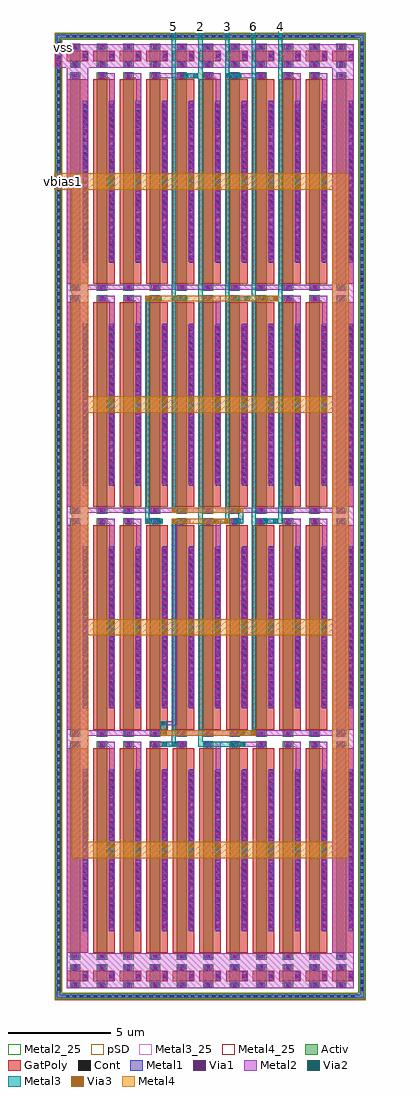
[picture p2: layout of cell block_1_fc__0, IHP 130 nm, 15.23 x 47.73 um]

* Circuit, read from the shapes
.subckt block_1_fc__0 2 3 4 5 6 vbias1 vss
XM1 vss vss vss vss sg13_lv_nmos w=0.5u l=0.5u m=22
XM2 vss vss vss vss sg13_lv_nmos w=0.5u l=10u m=8
XM3 vbias1 vbias1 vss vss sg13_lv_nmos w=0.5u l=10u m=20
XM4 3 vbias1 vss vss sg13_lv_nmos w=0.5u l=10u m=4
XM5 4 vbias1 vss vss sg13_lv_nmos w=0.5u l=10u m=4
XM6 2 vbias1 vss vss sg13_lv_nmos w=0.5u l=10u m=4
XM7 6 vbias1 vss vss sg13_lv_nmos w=0.5u l=10u m=2
XM8 5 vbias1 vss vss sg13_lv_nmos w=0.5u l=10u m=2
.ends

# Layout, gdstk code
from math import pi, radians
import gdstk
lib = gdstk.Library(unit=1e-6, precision=1e-09)
def R(c, l, rs):  # rectangles x0, y0, x1, y1
    for r in rs: c.add(gdstk.rectangle(r[:2], r[2:], *l))
def A(c, l, x, y, w, h, nx, ny, dx, dy):  # array of equal rectangles
    R(c, l, [(x+i*dx, y+j*dy, x+i*dx+w, y+j*dy+h) for i in range(nx) for j in range(ny)])
Activ = (1, 0)
GatPoly = (5, 0)
Cont = (6, 0)
Metal1 = (8, 0)
Metal2 = (10, 0)
Metal2_25 = (10, 25)
pSD = (14, 0)
Via1 = (19, 0)
Via2 = (29, 0)
Metal3 = (30, 0)
Metal3_25 = (30, 25)
Via3 = (49, 0)
Metal4 = (50, 0)
Metal4_25 = (50, 25)

sg13_lv_nmos_6qzvq2__0 = lib.new_cell('sg13_lv_nmos_6QZVQ2__0')
R(sg13_lv_nmos_6qzvq2__0, Activ, [(-0.59,-0.345,0.59,0.155)])
R(sg13_lv_nmos_6qzvq2__0, GatPoly, [(-0.25,-0.525,0.25,0.525)])
R(sg13_lv_nmos_6qzvq2__0, Cont, [(-0.52,-0.175,-0.36,-0.015), (0.36,-0.175,0.52,-0.015), (-0.08,0.295,0.08,0.455)])
R(sg13_lv_nmos_6qzvq2__0, Metal1, [(-0.59,-0.24,-0.29,0.05), (0.29,-0.24,0.59,0.05), (-0.215,0.27,0.215,0.48)])
R(sg13_lv_nmos_6qzvq2__0, Metal2, [(-0.54,-0.28,-0.34,0.09), (0.34,-0.28,0.54,0.09), (-0.11,0.23,0.11,0.52)])
R(sg13_lv_nmos_6qzvq2__0, Via1, [(-0.535,-0.19,-0.345,0), (0.345,-0.19,0.535,0), (-0.095,0.28,0.095,0.47)])
sg13_lv_nmos_6qzvq2__0.add(gdstk.Label('D', (-0.44,-0.095), layer=8, texttype=25))
sg13_lv_nmos_6qzvq2__0.add(gdstk.Label('S', (0.44,-0.095), layer=8, texttype=25))
sg13_lv_nmos_6qzvq2__0.add(gdstk.Label('G', (0,0.375), layer=8, texttype=25))

sg13_lv_nmos_ty7sk8__0 = lib.new_cell('sg13_lv_nmos_TY7SK8__0')
R(sg13_lv_nmos_ty7sk8__0, Activ, [(-5.34,-0.345,5.34,0.155)])
R(sg13_lv_nmos_ty7sk8__0, GatPoly, [(-5,-0.525,5,0.525)])
A(sg13_lv_nmos_ty7sk8__0, Cont, -3.82, 0.295, 0.16, 0.16, 23, 1, 0.34, 0)
R(sg13_lv_nmos_ty7sk8__0, Cont, [(-5.27,-0.175,-5.11,-0.015), (5.11,-0.175,5.27,-0.015)])
R(sg13_lv_nmos_ty7sk8__0, Metal1, [(-5.34,-0.24,-5.04,0.05), (5.04,-0.24,5.34,0.05), (-3.96,0.27,3.96,0.48)])
R(sg13_lv_nmos_ty7sk8__0, Metal2, [(-5.29,-0.28,-5.09,0.09), (5.09,-0.28,5.29,0.09), (-3.91,0.23,3.91,0.52)])
A(sg13_lv_nmos_ty7sk8__0, Via1, -3.785, 0.28, 0.19, 0.19, 19, 1, 0.41, 0)
R(sg13_lv_nmos_ty7sk8__0, Via1, [(-5.285,-0.19,-5.095,0), (5.095,-0.19,5.285,0)])
sg13_lv_nmos_ty7sk8__0.add(gdstk.Label('D', (-5.19,-0.095), layer=8, texttype=25))
sg13_lv_nmos_ty7sk8__0.add(gdstk.Label('S', (5.19,-0.095), layer=8, texttype=25))
sg13_lv_nmos_ty7sk8__0.add(gdstk.Label('G', (0,0.375), layer=8, texttype=25))

block_1_fc__0 = lib.new_cell('block_1_fc__0')
R(block_1_fc__0, Activ, [(3.45,-0.2,18.6,0.1), (3.45,0.1,3.75,46.75), (18.3,0.1,18.6,46.75), (3.45,46.75,18.6,47.05)])
A(block_1_fc__0, Cont, 3.975, -0.13, 0.16, 0.16, 42, 2, 0.34, 46.95)
A(block_1_fc__0, Cont, 3.52, 0.225, 0.16, 0.16, 1, 137, 0, 0.34)
A(block_1_fc__0, Cont, 18.37, 0.225, 0.16, 0.16, 1, 137, 0, 0.34)
A(block_1_fc__0, Metal1, 4.25, 0.4, 0.35, 0.25, 11, 2, 1.3, 0.85)
A(block_1_fc__0, Metal1, 4.25, 1.8, 0.35, 0.25, 11, 2, 1.3, 10.35)
A(block_1_fc__0, Metal1, 4.25, 12.7, 0.35, 0.25, 11, 2, 1.3, 10.35)
A(block_1_fc__0, Metal1, 4.25, 23.6, 0.35, 0.25, 11, 2, 1.3, 22.65)
A(block_1_fc__0, Metal1, 4.25, 33.95, 0.35, 0.25, 10, 2, 1.3, 0.55)
A(block_1_fc__0, Metal1, 4.25, 44.85, 0.35, 0.25, 4, 1, 1.3, 0)
A(block_1_fc__0, Metal1, 10.75, 44.85, 0.35, 0.25, 6, 1, 1.3, 0)
A(block_1_fc__0, Metal1, 5.55, 45.4, 0.35, 0.25, 10, 1, 1.3, 0)
R(block_1_fc__0, Metal1, [(3.52,-0.13,18.53,0.03), (3.52,0.03,3.68,45.35), (18.37,0.03,18.53,46.82), (17.25,34,17.6,34.2), (17.25,34.5,17.6,34.7), (9.45,44.85,9.5,45.1), (3.45,45.35,3.75,46.5), (4.25,45.35,4.6,45.6), (3.52,46.5,3.68,46.82), (3.52,46.82,18.53,46.98)])
A(block_1_fc__0, Metal2, 4, 2.05, 1.05, 10.65, 1, 3, 0, 10.9)
A(block_1_fc__0, Metal2, 17, 2.05, 1.05, 10.65, 1, 3, 0, 10.9)
A(block_1_fc__0, Metal2, 6.05, 6.7, 0.25, 0.8, 9, 4, 1.3, 10.9)
A(block_1_fc__0, Metal2, 6.1, 10.95, 0.25, 1.2, 1, 4, 0, 10.9)
A(block_1_fc__0, Metal2, 7.4, 10.95, 0.25, 1.2, 3, 4, 3.9, 10.9)
A(block_1_fc__0, Metal2, 16.5, 10.95, 0.25, 1.2, 1, 4, 0, 10.9)
A(block_1_fc__0, Metal2, 5.55, 12.15, 0.8, 0.25, 1, 4, 0, 10.9)
A(block_1_fc__0, Metal2, 6.85, 12.15, 0.8, 0.25, 3, 2, 3.9, 21.8)
A(block_1_fc__0, Metal2, 15.95, 12.15, 0.8, 0.25, 1, 4, 0, 10.9)
A(block_1_fc__0, Metal2, 4, 12.7, 14.05, 0.25, 1, 3, 0, 10.9)
A(block_1_fc__0, Metal2, 6.85, 44.85, 0.8, 0.25, 3, 1, 3.9, 0)
R(block_1_fc__0, Metal2, [(4,0.35,18.05,2.05), (8.1,12.15,9.85,12.4), (12,12.15,13.75,12.4), (8.6,13.2,9.4,13.4), (9.2,13.4,9.4,23.05), (6.85,23.05,7.65,23.3), (7.9,23.05,8.7,23.3), (9.2,23.05,10.05,23.3), (10.75,23.05,11.55,23.3), (12.05,23.05,12.65,23.3), (13.3,23.05,14.35,23.3), (14.65,23.05,15.45,23.3), (7.9,33.95,8.65,34.2), (9.15,33.95,9.9,34.2), (12.05,33.95,12.95,34.2), (13.35,33.95,14.35,34.2), (4,34.75,5.05,45.35), (17,34.75,18.05,45.35), (8.15,44.85,10.45,45.1), (11.8,44.85,13.75,45.1), (3.45,45.35,18.05,46.5)])
R(block_1_fc__0, Metal2_25, [(3.75,46.2,3.95,46.5)])
R(block_1_fc__0, pSD, [(3.42,-0.23,18.63,0.13), (3.42,0.13,3.78,46.72), (18.27,0.13,18.63,46.72), (3.42,46.72,18.63,47.08)])
R(block_1_fc__0, Via1, [(3.505,45.53,3.695,45.72), (3.505,46.18,3.695,46.37)])
A(block_1_fc__0, Via2, 6.105, 6.755, 0.19, 0.19, 9, 2, 1.3, 0.45)
A(block_1_fc__0, Via2, 6.105, 17.655, 0.19, 0.19, 9, 2, 1.3, 0.45)
A(block_1_fc__0, Via2, 6.105, 28.555, 0.19, 0.19, 9, 2, 1.3, 0.45)
A(block_1_fc__0, Via2, 6.105, 39.455, 0.19, 0.19, 9, 2, 1.3, 0.45)
R(block_1_fc__0, Via2, [(8.705,12.18,8.895,12.37), (9.155,12.18,9.345,12.37), (12.055,12.18,12.245,12.37), (12.505,12.18,12.695,12.37), (8.655,13.205,8.845,13.395), (7.955,23.08,8.145,23.27), (8.455,23.08,8.645,23.27), (12.33,23.08,12.52,23.27), (13.655,23.08,13.845,23.27), (14.105,23.08,14.295,23.27), (7.955,33.98,8.145,34.17), (8.405,33.98,8.595,34.17), (9.205,33.98,9.395,34.17), (9.655,33.98,9.845,34.17), (12.255,33.98,12.445,34.17), (12.705,33.98,12.895,34.17), (13.655,33.98,13.845,34.17), (14.105,33.98,14.295,34.17), (9.755,44.88,9.945,45.07), (10.205,44.88,10.395,45.07), (11.855,44.88,12.045,45.07), (12.305,44.88,12.495,45.07)])
A(block_1_fc__0, Metal3, 6.05, 6.7, 0.25, 0.8, 9, 4, 1.3, 10.9)
R(block_1_fc__0, Metal3, [(8.65,12.15,9.4,12.4), (10.45,12.15,12.75,12.4), (9.15,12.4,9.35,23.05), (10.45,12.4,10.65,44.85), (8.6,12.7,8.9,13.4), (12.5,12.7,13.25,12.95), (13.05,12.95,13.25,33.95), (7.85,23.05,8.7,23.3), (9.15,23.05,9.9,23.3), (11.2,23.05,11.95,23.3), (12.2,23.05,12.65,23.3), (13.6,23.05,14.55,23.3), (7.85,23.3,8.05,33.95), (11.75,23.3,11.95,44.85), (12.4,23.3,12.65,23.6), (14.35,23.3,14.55,33.95), (9.15,23.6,9.9,23.85), (12.2,23.6,12.65,23.85), (9.15,23.85,9.35,33.95), (7.85,33.95,8.65,34.2), (9.15,33.95,9.9,34.2), (12.2,33.95,13.25,34.2), (13.6,33.95,14.55,34.2), (9.15,34.2,9.35,47.5), (13.05,34.2,13.25,47.5), (14.35,34.2,14.55,47.5), (9.7,44.85,10.65,45.1), (11.75,44.85,12.55,45.1), (10.45,45.1,10.65,47.5), (11.75,45.1,11.95,47.5)])
A(block_1_fc__0, Metal3_25, 9.15, 47.25, 0.2, 0.25, 5, 1, 1.3, 0)
A(block_1_fc__0, Via3, 6.105, 6.755, 0.19, 0.19, 9, 2, 1.3, 0.45)
A(block_1_fc__0, Via3, 6.105, 17.655, 0.19, 0.19, 9, 2, 1.3, 0.45)
A(block_1_fc__0, Via3, 6.105, 28.555, 0.19, 0.19, 9, 2, 1.3, 0.45)
A(block_1_fc__0, Via3, 6.105, 39.455, 0.19, 0.19, 9, 2, 1.3, 0.45)
R(block_1_fc__0, Via3, [(12.555,12.73,12.745,12.92), (13.005,12.73,13.195,12.92), (8.68,12.755,8.87,12.945), (9.205,23.08,9.395,23.27), (9.655,23.08,9.845,23.27), (11.255,23.08,11.445,23.27), (11.705,23.08,11.895,23.27), (9.205,23.63,9.395,23.82), (9.655,23.63,9.845,23.82), (12.33,23.63,12.52,23.82), (7.905,33.98,8.095,34.17), (8.355,33.98,8.545,34.17), (13.655,33.98,13.845,34.17), (14.105,33.98,14.295,34.17)])
A(block_1_fc__0, Metal4, 4.25, 6.7, 13.55, 0.8, 1, 3, 0, 10.9)
A(block_1_fc__0, Metal4, 4.25, 7.5, 0.8, 10.1, 1, 3, 0, 10.9)
A(block_1_fc__0, Metal4, 17, 7.5, 0.8, 10.1, 1, 3, 0, 10.9)
R(block_1_fc__0, Metal4, [(8.6,12.7,13.25,12.95), (9.15,23.05,11.95,23.3), (9.15,23.6,12.65,23.85), (7.85,33.95,14.35,34.2), (3.4,39.4,17.8,40.2)])
R(block_1_fc__0, Metal4_25, [(3.75,39.65,3.95,39.95)])
block_1_fc__0.add(gdstk.Reference(sg13_lv_nmos_6qzvq2__0, (4.525,0.94), rotation=3*pi/2))
block_1_fc__0.add(gdstk.Reference(sg13_lv_nmos_ty7sk8__0, (4.525,7.09), rotation=3*pi/2))
block_1_fc__0.add(gdstk.Reference(sg13_lv_nmos_6qzvq2__0, (5.825,0.94), rotation=3*pi/2))
block_1_fc__0.add(gdstk.Reference(sg13_lv_nmos_ty7sk8__0, (5.825,7.09), rotation=3*pi/2))
block_1_fc__0.add(gdstk.Reference(sg13_lv_nmos_6qzvq2__0, (7.125,0.94), rotation=3*pi/2))
block_1_fc__0.add(gdstk.Reference(sg13_lv_nmos_ty7sk8__0, (7.125,7.09), rotation=3*pi/2))
block_1_fc__0.add(gdstk.Reference(sg13_lv_nmos_6qzvq2__0, (8.425,0.94), rotation=3*pi/2))
block_1_fc__0.add(gdstk.Reference(sg13_lv_nmos_ty7sk8__0, (8.425,7.09), rotation=3*pi/2))
block_1_fc__0.add(gdstk.Reference(sg13_lv_nmos_6qzvq2__0, (9.725,0.94), rotation=3*pi/2))
block_1_fc__0.add(gdstk.Reference(sg13_lv_nmos_ty7sk8__0, (9.725,7.09), rotation=3*pi/2))
block_1_fc__0.add(gdstk.Reference(sg13_lv_nmos_6qzvq2__0, (11.025,0.94), rotation=3*pi/2))
block_1_fc__0.add(gdstk.Reference(sg13_lv_nmos_ty7sk8__0, (11.025,7.09), rotation=3*pi/2))
block_1_fc__0.add(gdstk.Reference(sg13_lv_nmos_6qzvq2__0, (12.325,0.94), rotation=3*pi/2))
block_1_fc__0.add(gdstk.Reference(sg13_lv_nmos_ty7sk8__0, (12.325,7.09), rotation=3*pi/2))
block_1_fc__0.add(gdstk.Reference(sg13_lv_nmos_6qzvq2__0, (13.625,0.94), rotation=3*pi/2))
block_1_fc__0.add(gdstk.Reference(sg13_lv_nmos_ty7sk8__0, (13.625,7.09), rotation=3*pi/2))
block_1_fc__0.add(gdstk.Reference(sg13_lv_nmos_6qzvq2__0, (14.925,0.94), rotation=3*pi/2))
block_1_fc__0.add(gdstk.Reference(sg13_lv_nmos_ty7sk8__0, (14.925,7.09), rotation=3*pi/2))
block_1_fc__0.add(gdstk.Reference(sg13_lv_nmos_6qzvq2__0, (16.225,0.94), rotation=3*pi/2))
block_1_fc__0.add(gdstk.Reference(sg13_lv_nmos_ty7sk8__0, (16.225,7.09), rotation=3*pi/2))
block_1_fc__0.add(gdstk.Reference(sg13_lv_nmos_6qzvq2__0, (17.525,0.94), rotation=3*pi/2))
block_1_fc__0.add(gdstk.Reference(sg13_lv_nmos_ty7sk8__0, (17.525,7.09), rotation=3*pi/2))
block_1_fc__0.add(gdstk.Reference(sg13_lv_nmos_ty7sk8__0, (4.525,17.99), rotation=3*pi/2))
block_1_fc__0.add(gdstk.Reference(sg13_lv_nmos_ty7sk8__0, (5.825,17.99), rotation=3*pi/2))
block_1_fc__0.add(gdstk.Reference(sg13_lv_nmos_ty7sk8__0, (7.125,17.99), rotation=3*pi/2))
block_1_fc__0.add(gdstk.Reference(sg13_lv_nmos_ty7sk8__0, (8.425,17.99), rotation=3*pi/2))
block_1_fc__0.add(gdstk.Reference(sg13_lv_nmos_ty7sk8__0, (9.725,17.99), rotation=3*pi/2))
block_1_fc__0.add(gdstk.Reference(sg13_lv_nmos_ty7sk8__0, (11.025,17.99), rotation=3*pi/2))
block_1_fc__0.add(gdstk.Reference(sg13_lv_nmos_ty7sk8__0, (12.325,17.99), rotation=3*pi/2))
block_1_fc__0.add(gdstk.Reference(sg13_lv_nmos_ty7sk8__0, (13.625,17.99), rotation=3*pi/2))
block_1_fc__0.add(gdstk.Reference(sg13_lv_nmos_ty7sk8__0, (14.925,17.99), rotation=3*pi/2))
block_1_fc__0.add(gdstk.Reference(sg13_lv_nmos_ty7sk8__0, (16.225,17.99), rotation=3*pi/2))
block_1_fc__0.add(gdstk.Reference(sg13_lv_nmos_ty7sk8__0, (17.525,17.99), rotation=3*pi/2))
block_1_fc__0.add(gdstk.Reference(sg13_lv_nmos_ty7sk8__0, (4.525,28.89), rotation=3*pi/2))
block_1_fc__0.add(gdstk.Reference(sg13_lv_nmos_ty7sk8__0, (5.825,28.89), rotation=3*pi/2))
block_1_fc__0.add(gdstk.Reference(sg13_lv_nmos_ty7sk8__0, (7.125,28.89), rotation=3*pi/2))
block_1_fc__0.add(gdstk.Reference(sg13_lv_nmos_ty7sk8__0, (8.425,28.89), rotation=3*pi/2))
block_1_fc__0.add(gdstk.Reference(sg13_lv_nmos_ty7sk8__0, (9.725,28.89), rotation=3*pi/2))
block_1_fc__0.add(gdstk.Reference(sg13_lv_nmos_ty7sk8__0, (11.025,28.89), rotation=3*pi/2))
block_1_fc__0.add(gdstk.Reference(sg13_lv_nmos_ty7sk8__0, (12.325,28.89), rotation=3*pi/2))
block_1_fc__0.add(gdstk.Reference(sg13_lv_nmos_ty7sk8__0, (13.625,28.89), rotation=3*pi/2))
block_1_fc__0.add(gdstk.Reference(sg13_lv_nmos_ty7sk8__0, (14.925,28.89), rotation=3*pi/2))
block_1_fc__0.add(gdstk.Reference(sg13_lv_nmos_ty7sk8__0, (16.225,28.89), rotation=3*pi/2))
block_1_fc__0.add(gdstk.Reference(sg13_lv_nmos_ty7sk8__0, (17.525,28.89), rotation=3*pi/2))
block_1_fc__0.add(gdstk.Reference(sg13_lv_nmos_ty7sk8__0, (4.525,39.79), rotation=3*pi/2))
block_1_fc__0.add(gdstk.Reference(sg13_lv_nmos_ty7sk8__0, (5.825,39.79), rotation=3*pi/2))
block_1_fc__0.add(gdstk.Reference(sg13_lv_nmos_ty7sk8__0, (7.125,39.79), rotation=3*pi/2))
block_1_fc__0.add(gdstk.Reference(sg13_lv_nmos_ty7sk8__0, (8.425,39.79), rotation=3*pi/2))
block_1_fc__0.add(gdstk.Reference(sg13_lv_nmos_ty7sk8__0, (9.725,39.79), rotation=3*pi/2))
block_1_fc__0.add(gdstk.Reference(sg13_lv_nmos_ty7sk8__0, (11.025,39.79), rotation=3*pi/2))
block_1_fc__0.add(gdstk.Reference(sg13_lv_nmos_ty7sk8__0, (12.325,39.79), rotation=3*pi/2))
block_1_fc__0.add(gdstk.Reference(sg13_lv_nmos_ty7sk8__0, (13.625,39.79), rotation=3*pi/2))
block_1_fc__0.add(gdstk.Reference(sg13_lv_nmos_ty7sk8__0, (14.925,39.79), rotation=3*pi/2))
block_1_fc__0.add(gdstk.Reference(sg13_lv_nmos_ty7sk8__0, (16.225,39.79), rotation=3*pi/2))
block_1_fc__0.add(gdstk.Reference(sg13_lv_nmos_ty7sk8__0, (17.525,39.79), rotation=3*pi/2))
block_1_fc__0.add(gdstk.Reference(sg13_lv_nmos_6qzvq2__0, (4.525,45.94), rotation=3*pi/2))
block_1_fc__0.add(gdstk.Reference(sg13_lv_nmos_6qzvq2__0, (5.825,45.94), rotation=3*pi/2))
block_1_fc__0.add(gdstk.Reference(sg13_lv_nmos_6qzvq2__0, (7.125,45.94), rotation=3*pi/2))
block_1_fc__0.add(gdstk.Reference(sg13_lv_nmos_6qzvq2__0, (8.425,45.94), rotation=3*pi/2))
block_1_fc__0.add(gdstk.Reference(sg13_lv_nmos_6qzvq2__0, (9.725,45.94), rotation=3*pi/2))
block_1_fc__0.add(gdstk.Reference(sg13_lv_nmos_6qzvq2__0, (11.025,45.94), rotation=3*pi/2))
block_1_fc__0.add(gdstk.Reference(sg13_lv_nmos_6qzvq2__0, (12.325,45.94), rotation=3*pi/2))
block_1_fc__0.add(gdstk.Reference(sg13_lv_nmos_6qzvq2__0, (13.625,45.94), rotation=3*pi/2))
block_1_fc__0.add(gdstk.Reference(sg13_lv_nmos_6qzvq2__0, (14.925,45.94), rotation=3*pi/2))
block_1_fc__0.add(gdstk.Reference(sg13_lv_nmos_6qzvq2__0, (16.225,45.94), rotation=3*pi/2))
block_1_fc__0.add(gdstk.Reference(sg13_lv_nmos_6qzvq2__0, (17.525,45.94), rotation=3*pi/2))
block_1_fc__0.add(gdstk.Label('5', (9.25,47.375), layer=30, texttype=25))
block_1_fc__0.add(gdstk.Label('2', (10.55,47.375), layer=30, texttype=25))
block_1_fc__0.add(gdstk.Label('3', (11.85,47.375), layer=30, texttype=25))
block_1_fc__0.add(gdstk.Label('6', (13.15,47.375), layer=30, texttype=25))
block_1_fc__0.add(gdstk.Label('4', (14.45,47.375), layer=30, texttype=25))
block_1_fc__0.add(gdstk.Label('vss', (3.85,46.35), layer=10, texttype=25))
block_1_fc__0.add(gdstk.Label('vbias1', (3.85,39.8), layer=50, texttype=25))

lib.write_gds('block_1_fc__0.gds')
